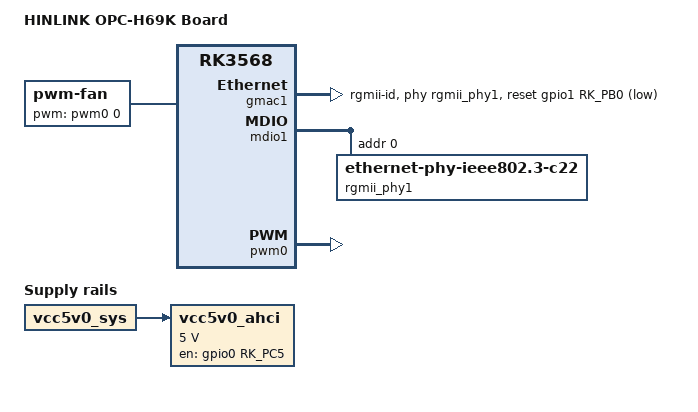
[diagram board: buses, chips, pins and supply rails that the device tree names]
// SPDX-License-Identifier: (GPL-2.0+ OR MIT)
// Copyright (c) 2023 AmadeusGhost <amadeus@jmu.edu.cn>

/dts-v1/;

#include "rk3568-hinlink-opc.dtsi"

/ {
	model = "HINLINK OPC-H69K Board";
	compatible = "hinlink,opc-h69k", "rockchip,rk3568";

	aliases {
		ethernet0 = &gmac1;
	};

	fan: pwm-fan {
		compatible = "pwm-fan";
		cooling-levels = <0 100 150 200 255>;
		#cooling-cells = <2>;
		pwms = <&pwm0 0 50000 0>;
	};

	vcc5v0_ahci: vcc5v0-ahci {
		compatible = "regulator-fixed";
		enable-active-high;
		gpio = <&gpio0 RK_PC5 GPIO_ACTIVE_HIGH>;
		pinctrl-names = "default";
		pinctrl-0 = <&sata_pwr_en>;
		regulator-min-microvolt = <5000000>;
		regulator-max-microvolt = <5000000>;
		regulator-name = "vcc5v0_ahci";
		vin-supply = <&vcc5v0_sys>;
	};
};

&cpu_thermal {
	trips {
		cpu_passive: cpu_passive {
			temperature = <40000>;
			hysteresis = <2000>;
			type = "active";
		};

		cpu_active: cpu_active {
			temperature = <50000>;
			hysteresis = <2000>;
			type = "active";
		};

		cpu_warm: cpu_warm {
			temperature = <60000>;
			hysteresis = <2000>;
			type = "active";
		};

		cpu_hot: cpu_hot {
			temperature = <70000>;
			hysteresis = <2000>;
			type = "active";
		};
	};

	cooling-maps {
		map1 {
			trip = <&cpu_passive>;
			cooling-device = <&fan 0 1>;
		};

		map2 {
			trip = <&cpu_active>;
			cooling-device = <&fan 1 2>;
		};

		map3 {
			trip = <&cpu_warm>;
			cooling-device = <&fan 2 3>;
		};

		map4 {
			trip = <&cpu_hot>;
			cooling-device = <&fan 3 4>;
		};
	};
};

&gmac1 {
	assigned-clocks = <&cru SCLK_GMAC1_RX_TX>, <&cru SCLK_GMAC1>;
	assigned-clock-parents = <&cru SCLK_GMAC1_RGMII_SPEED>;
	assigned-clock-rates = <0>, <125000000>;
	clock_in_out = "output";
	phy-mode = "rgmii-id";
	pinctrl-names = "default";
	pinctrl-0 = <&gmac1m1_miim
		     &gmac1m1_tx_bus2
		     &gmac1m1_rx_bus2
		     &gmac1m1_rgmii_clk
		     &gmac1m1_rgmii_bus>;
	snps,reset-gpio = <&gpio1 RK_PB0 GPIO_ACTIVE_LOW>;
	snps,reset-active-low;
	snps,reset-delays-us = <0 20000 100000>;
	tx_delay = <0x4f>;
	rx_delay = <0x26>;
	phy-handle = <&rgmii_phy1>;
	status = "okay";
};

&mdio1 {
	rgmii_phy1: ethernet-phy@0 {
		compatible = "ethernet-phy-ieee802.3-c22";
		reg = <0x0>;
	};
};

&pinctrl {
	sata {
		sata_pwr_en: sata-pwr-en {
			rockchip,pins = <0 RK_PC5 RK_FUNC_GPIO &pcfg_pull_none>;
		};
	};
};

&pwm0 {
	status = "okay";
};

&sata0 {
	target-supply = <&vcc5v0_ahci>;
};

&vcc3v3_pcie {
	gpio = <&gpio0 RK_PC4 GPIO_ACTIVE_HIGH>;
};
